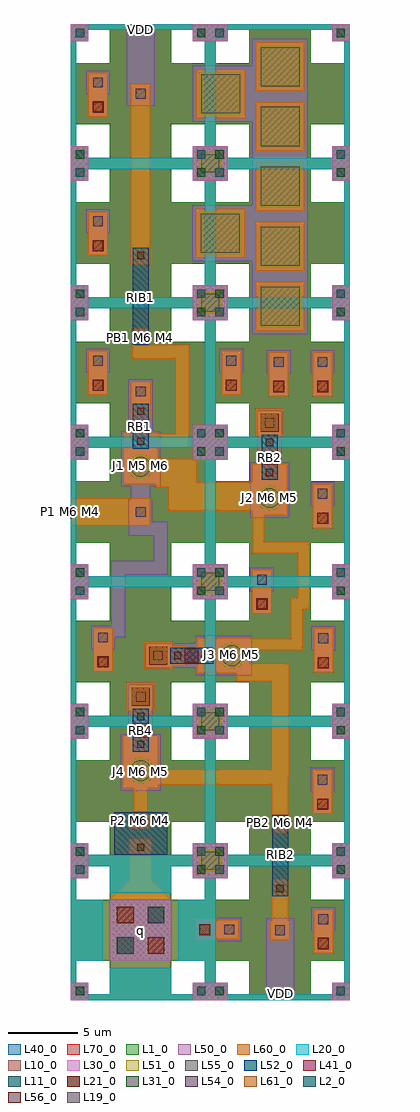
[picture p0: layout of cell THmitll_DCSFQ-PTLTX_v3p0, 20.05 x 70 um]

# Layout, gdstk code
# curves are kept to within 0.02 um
from math import pi, radians
import gdstk
lib = gdstk.Library(unit=1e-6, precision=1e-09)
def R(c, l, rs):  # rectangles x0, y0, x1, y1
    for r in rs: c.add(gdstk.rectangle(r[:2], r[2:], *l))
def P(c, l, *ps):  # polygons
    for p in ps: c.add(gdstk.Polygon(p, *l))
L1_0 = (1, 0)
L2_0 = (2, 0)
L10_0 = (10, 0)
L11_0 = (11, 0)
L19_0 = (19, 0)
L20_0 = (20, 0)
L21_0 = (21, 0)
L30_0 = (30, 0)
L31_0 = (31, 0)
L40_0 = (40, 0)
L41_0 = (41, 0)
L50_0 = (50, 0)
L51_0 = (51, 0)
L52_0 = (52, 0)
L54_0 = (54, 0)
L55_0 = (55, 0)
L56_0 = (56, 0)
L60_0 = (60, 0)
L61_0 = (61, 0)
L70_0 = (70, 0)

ls_tr_m7 = lib.new_cell('ls_tr_M7')
P(ls_tr_m7, L70_0, [(0,0),(0,10),(1.25,10),(1.25,8.75),(0.4,8.75),(0.4,1.25),(1.25,1.25),(1.25,0.4),(2.8,0.4),(2.8,2.8),(0.4,2.8),(0.4,7.2),(2.8,7.2),(2.8,9.6),(1.25,9.6),(1.25,10),(7.2,10),(7.2,0.4),(8.75,0.4),(8.75,1.25),(9.6,1.25),(9.6,2.8),(7.2,2.8),(7.2,7.2),(9.6,7.2),(9.6,8.75),(8.75,8.75),(8.75,9.6),(7.2,9.6),(7.2,10),(10,10),(10,0)])

ls_tr_u_m4 = lib.new_cell('ls_tr_u_M4')
P(ls_tr_u_m4, L1_0, [(0,0),(0,10),(1.25,10),(1.25,8.75),(0.4,8.75),(0.4,1.25),(1.25,1.25),(1.25,0.4),(2.8,0.4),(2.8,2.8),(0.4,2.8),(0.4,7.2),(2.8,7.2),(2.8,9.6),(1.25,9.6),(1.25,10),(7.2,10),(7.2,0.4),(8.75,0.4),(8.75,1.25),(9.6,1.25),(9.6,2.8),(7.2,2.8),(7.2,7.2),(9.6,7.2),(9.6,8.75),(8.75,8.75),(8.75,9.6),(7.2,9.6),(7.2,10),(10,10),(10,0)])
R(ls_tr_u_m4, L2_0, [(9.05,0.35,9.65,0.95), (0.35,9.05,0.95,9.65)])
R(ls_tr_u_m4, L10_0, [(0,0,1.25,1.25), (8.75,0,10,1.25), (0,8.75,1.25,10), (8.75,8.75,10,10)])
R(ls_tr_u_m4, L11_0, [(0.35,0.35,0.95,0.95), (9.05,9.05,9.65,9.65)])
P(ls_tr_u_m4, L20_0, [(0,0),(0,10),(1.25,10),(1.25,8.75),(0.4,8.75),(0.4,1.25),(1.25,1.25),(1.25,0.4),(8.75,0.4),(8.75,1.25),(9.6,1.25),(9.6,8.75),(8.75,8.75),(8.75,9.6),(1.25,9.6),(1.25,10),(10,10),(10,0)])
R(ls_tr_u_m4, L21_0, [(9.05,0.35,9.65,0.95), (0.35,9.05,0.95,9.65)])
R(ls_tr_u_m4, L30_0, [(0,0,1.25,1.25), (8.75,0,10,1.25), (0,8.75,1.25,10), (8.75,8.75,10,10)])
R(ls_tr_u_m4, L31_0, [(0.35,0.35,0.95,0.95), (9.05,9.05,9.65,9.65)])
P(ls_tr_u_m4, L40_0, [(0,0),(0,10),(1.25,10),(1.25,8.75),(0.4,8.75),(0.4,1.25),(1.25,1.25),(1.25,0.4),(2.8,0.4),(2.8,2.8),(0.4,2.8),(0.4,7.2),(2.8,7.2),(2.8,9.6),(1.25,9.6),(1.25,10),(7.2,10),(7.2,0.4),(8.75,0.4),(8.75,1.25),(9.6,1.25),(9.6,2.8),(7.2,2.8),(7.2,7.2),(9.6,7.2),(9.6,8.75),(8.75,8.75),(8.75,9.6),(7.2,9.6),(7.2,10),(10,10),(10,0)])
ls_tr_u_m4.add(gdstk.Reference(ls_tr_m7, (0,0)))

ls_tr_ptlconnection = lib.new_cell('ls_tr_PTLconnection')
P(ls_tr_ptlconnection, L1_0, [(0,0),(0,10),(1.25,10),(1.25,8.75),(0.4,8.75),(0.4,1.25),(1.25,1.25),(1.25,0.4),(2.8,0.4),(2.8,2.8),(0.4,2.8),(0.4,7.2),(2.8,7.2),(2.8,9.6),(1.25,9.6),(1.25,10),(7.2,10),(7.2,0.4),(8.75,0.4),(8.75,1.25),(9.6,1.25),(9.6,2.8),(7.2,2.8),(7.2,7.2),(9.6,7.2),(9.6,8.75),(8.75,8.75),(8.75,9.6),(7.2,9.6),(7.2,10),(10,10),(10,0)])
R(ls_tr_ptlconnection, L2_0, [(9.05,0.35,9.65,0.95), (0.35,9.05,0.95,9.65)])
R(ls_tr_ptlconnection, L10_0, [(0,0,1.25,1.25), (8.75,0,10,1.25), (2.8,2.8,7.2,7.2), (0,8.75,1.25,10), (8.75,8.75,10,10)])
R(ls_tr_ptlconnection, L11_0, [(0.35,0.35,0.95,0.95), (3.3,3.3,4.5,4.5), (5.5,5.5,6.7,6.7), (9.05,9.05,9.65,9.65)])
R(ls_tr_ptlconnection, L20_0, [(2.8,2.8,7.2,7.2)])
P(ls_tr_ptlconnection, L20_0, [(0,0),(0,10),(7.2,10),(7.2,7.7),(2.8,7.7),(2.8,9.6),(1.25,9.6),(1.25,8.75),(0.4,8.75),(0.4,7.2),(2.3,7.2),(2.3,2.8),(0.4,2.8),(0.4,1.25),(1.25,1.25),(1.25,0.4),(2.8,0.4),(2.8,2.3),(7.2,2.3),(7.2,0.4),(8.75,0.4),(8.75,1.25),(9.6,1.25),(9.6,2.8),(7.7,2.8),(7.7,7.2),(9.6,7.2),(9.6,8.75),(8.75,8.75),(8.75,9.6),(7.2,9.6),(7.2,10),(10,10),(10,0)])
R(ls_tr_ptlconnection, L21_0, [(9.05,0.35,9.65,0.95), (5.5,3.3,6.7,4.5), (3.3,5.5,4.5,6.7), (0.35,9.05,0.95,9.65)])
R(ls_tr_ptlconnection, L30_0, [(0,0,1.25,1.25), (8.75,0,10,1.25), (2.8,2.8,7.2,7.2), (0,8.75,1.25,10), (8.75,8.75,10,10)])
R(ls_tr_ptlconnection, L31_0, [(0.35,0.35,0.95,0.95), (3.3,3.3,4.5,4.5), (5.5,5.5,6.7,6.7), (9.05,9.05,9.65,9.65)])
R(ls_tr_ptlconnection, L40_0, [(2.8,2.8,7.2,7.2)])
P(ls_tr_ptlconnection, L40_0, [(0,0),(0,10),(7.2,10),(7.2,7.7),(2.8,7.7),(2.8,9.6),(1.25,9.6),(1.25,8.75),(0.4,8.75),(0.4,7.2),(2.3,7.2),(2.3,2.8),(0.4,2.8),(0.4,1.25),(1.25,1.25),(1.25,0.4),(2.8,0.4),(2.8,2.3),(7.2,2.3),(7.2,0.4),(8.75,0.4),(8.75,1.25),(9.6,1.25),(9.6,2.8),(7.7,2.8),(7.7,7.2),(9.6,7.2),(9.6,8.75),(8.75,8.75),(8.75,9.6),(7.2,9.6),(7.2,10),(10,10),(10,0)])
R(ls_tr_ptlconnection, L41_0, [(5.5,3.3,6.7,4.5), (3.3,5.5,4.5,6.7)])
R(ls_tr_ptlconnection, L50_0, [(2.8,2.8,7.2,7.2)])
R(ls_tr_ptlconnection, L54_0, [(3.3,3.3,4.5,4.5), (5.5,5.5,6.7,6.7)])
R(ls_tr_ptlconnection, L60_0, [(2.8,2.8,7.2,7.2)])
P(ls_tr_ptlconnection, L70_0, [(0,0),(0,10),(1.25,10),(1.25,8.75),(0.4,8.75),(0.4,1.25),(1.25,1.25),(1.25,0.4),(2.8,0.4),(2.8,2.8),(0.4,2.8),(0.4,7.2),(2.8,7.2),(2.8,9.6),(1.25,9.6),(1.25,10),(7.2,10),(7.2,0.4),(8.75,0.4),(8.75,1.25),(9.6,1.25),(9.6,2.8),(7.2,2.8),(7.2,7.2),(9.6,7.2),(9.6,8.75),(8.75,8.75),(8.75,9.6),(7.2,9.6),(7.2,10),(10,10),(10,0)])

ls_res_1p36 = lib.new_cell('ls_res_1p36')
R(ls_res_1p36, L52_0, [(-1.9,0,1.9,3.05)])
R(ls_res_1p36, L56_0, [(-0.26,0.29,0.26,0.81), (-0.26,2.25,0.26,2.77)])
R(ls_res_1p36, L60_0, [(-0.625,-0.1,0.625,1.175), (-0.625,1.875,0.625,3.15)])

ls_conn_m5m6 = lib.new_cell('ls_conn_M5M6')
R(ls_conn_m5m6, L50_0, [(0,0,1.7,1.7)])
R(ls_conn_m5m6, L54_0, [(0.5,0.5,1.2,1.2)])
R(ls_conn_m5m6, L60_0, [(0.15,0.15,1.55,1.55)])

th_jj_250_sg = lib.new_cell('th_jj_250_sg')
R(th_jj_250_sg, L41_0, [(-0.5,2.4,0.5,3.4)])
R(th_jj_250_sg, L50_0, [(-1.425,-1.425,1.425,2.625), (-0.875,2.625,0.875,6.175)])
P(th_jj_250_sg, L51_0, [(0,-0.91),(-0.18,-0.895),(-0.35,-0.84),(-0.645,-0.645),(-0.84,-0.35),(-0.91,0),(-0.895,0.18),(-0.84,0.35),(-0.645,0.645),(-0.35,0.84),(-0.18,0.895),(0,0.91),(0.18,0.895),(0.35,0.84),(0.645,0.645),(0.84,0.35),(0.895,0.18),(0.91,0),(0.84,-0.35),(0.645,-0.645),(0.35,-0.84),(0.18,-0.895)])
R(th_jj_250_sg, L52_0, [(-0.575,1.35,0.575,4.425)])
R(th_jj_250_sg, L54_0, [(-0.35,4.95,0.35,5.65)])
P(th_jj_250_sg, L55_0, [(0,-0.76),(-0.15,-0.75),(-0.29,-0.7),(-0.54,-0.54),(-0.7,-0.29),(-0.75,-0.15),(-0.76,0),(-0.75,0.15),(-0.7,0.29),(-0.54,0.54),(-0.29,0.7),(-0.15,0.75),(0,0.76),(0.15,0.75),(0.29,0.7),(0.54,0.54),(0.7,0.29),(0.75,0.15),(0.76,0),(0.75,-0.15),(0.7,-0.29),(0.54,-0.54),(0.29,-0.7),(0.15,-0.75)])
R(th_jj_250_sg, L56_0, [(-0.26,1.64,0.26,2.16), (-0.26,3.63,0.26,4.15)])
R(th_jj_250_sg, L60_0, [(-1.275,-1.275,1.275,2.525), (-0.725,3.25,0.725,6.025), (-1,4.3,1,6.3)])
R(th_jj_250_sg, L61_0, [(-0.65,4.65,0.65,5.95)])

th_ib_350 = lib.new_cell('th_ib_350')
R(th_ib_350, L52_0, [(-0.575,0,0.575,5.8)])
R(th_ib_350, L56_0, [(-0.26,0.29,0.26,0.81), (-0.26,4.99,0.26,5.51)])
R(th_ib_350, L60_0, [(-0.625,-0.1,0.625,1.175), (-0.625,4.625,0.625,5.9)])

ls_conn_m4m5m6m7 = lib.new_cell('ls_conn_M4M5M6M7')
R(ls_conn_m4m5m6m7, L40_0, [(0,0,1.4,1.4)])
R(ls_conn_m4m5m6m7, L41_0, [(0.3,0.3,1.1,1.1)])
P(ls_conn_m4m5m6m7, L50_0, [(1.6,-0.15),(1.6,0),(0,0),(0,1.4),(1.6,1.4),(1.6,1.55),(3.3,1.55),(3.3,-0.15)])
R(ls_conn_m4m5m6m7, L54_0, [(2.1,0.35,2.8,1.05)])
R(ls_conn_m4m5m6m7, L60_0, [(0,0,3.15,1.4)])
R(ls_conn_m4m5m6m7, L61_0, [(0.35,0.35,1.05,1.05)])
R(ls_conn_m4m5m6m7, L70_0, [(0,0,1.4,1.4)])

th_jj_225_s = lib.new_cell('th_jj_225_s')
R(th_jj_225_s, L50_0, [(-1.4,-1.4,1.4,2.55), (-0.875,2.55,0.875,6.275)])
P(th_jj_225_s, L51_0, [(-0.065,-0.865),(-0.065,-0.86),(-0.11,-0.86),(-0.11,-0.855),(-0.145,-0.855),(-0.145,-0.85),(-0.17,-0.85),(-0.17,-0.845),(-0.195,-0.845),(-0.195,-0.84),(-0.215,-0.84),(-0.215,-0.835),(-0.235,-0.835),(-0.235,-0.83),(-0.25,-0.83),(-0.25,-0.825),(-0.27,-0.825),(-0.27,-0.82),(-0.28,-0.82),(-0.28,-0.815),(-0.295,-0.815),(-0.295,-0.81),(-0.31,-0.81),(-0.31,-0.805),(-0.32,-0.805),(-0.32,-0.8),(-0.335,-0.8),(-0.335,-0.795),(-0.345,-0.795),(-0.345,-0.79),(-0.355,-0.79),(-0.355,-0.785),(-0.37,-0.785),(-0.37,-0.78),(-0.38,-0.78),(-0.38,-0.775),(-0.39,-0.775),(-0.39,-0.77),(-0.4,-0.77),(-0.4,-0.765),(-0.41,-0.765),(-0.41,-0.76),(-0.415,-0.76),(-0.415,-0.755),(-0.425,-0.755),(-0.425,-0.75),(-0.435,-0.75),(-0.435,-0.745),(-0.445,-0.745),(-0.445,-0.74),(-0.45,-0.74),(-0.45,-0.735),(-0.46,-0.735),(-0.46,-0.73),(-0.465,-0.73),(-0.465,-0.725),(-0.475,-0.725),(-0.475,-0.72),(-0.485,-0.72),(-0.485,-0.715),(-0.49,-0.715),(-0.49,-0.71),(-0.495,-0.71),(-0.495,-0.705),(-0.505,-0.705),(-0.505,-0.7),(-0.51,-0.7),(-0.51,-0.695),(-0.52,-0.695),(-0.52,-0.69),(-0.525,-0.69),(-0.525,-0.685),(-0.53,-0.685),(-0.53,-0.68),(-0.535,-0.68),(-0.535,-0.675),(-0.545,-0.675),(-0.545,-0.67),(-0.55,-0.67),(-0.55,-0.665),(-0.555,-0.665),(-0.555,-0.66),(-0.56,-0.66),(-0.56,-0.655),(-0.565,-0.655),(-0.565,-0.65),(-0.57,-0.65),(-0.57,-0.645),(-0.575,-0.645),(-0.575,-0.64),(-0.58,-0.64),(-0.58,-0.635),(-0.585,-0.635),(-0.585,-0.63),(-0.59,-0.63),(-0.59,-0.625),(-0.595,-0.625),(-0.595,-0.62),(-0.6,-0.62),(-0.6,-0.615),(-0.605,-0.615),(-0.605,-0.61),(-0.61,-0.61),(-0.61,-0.605),(-0.615,-0.605),(-0.615,-0.6),(-0.62,-0.6),(-0.62,-0.595),(-0.625,-0.595),(-0.625,-0.59),(-0.63,-0.59),(-0.63,-0.585),(-0.635,-0.585),(-0.635,-0.58),(-0.64,-0.58),(-0.64,-0.575),(-0.645,-0.575),(-0.645,-0.57),(-0.65,-0.57),(-0.65,-0.565),(-0.655,-0.565),(-0.655,-0.56),(-0.665,-0.56),(-0.665,-0.545),(-0.67,-0.545),(-0.67,-0.54),(-0.675,-0.54),(-0.675,-0.535),(-0.685,-0.535),(-0.685,-0.52),(-0.69,-0.52),(-0.69,-0.515),(-0.7,-0.515),(-0.7,-0.5),(-0.705,-0.5),(-0.705,-0.495),(-0.715,-0.495),(-0.715,-0.485),(-0.72,-0.485),(-0.72,-0.47),(-0.73,-0.47),(-0.73,-0.455),(-0.74,-0.455),(-0.74,-0.445),(-0.745,-0.445),(-0.745,-0.435),(-0.75,-0.435),(-0.75,-0.42),(-0.76,-0.42),(-0.76,-0.41),(-0.765,-0.41),(-0.765,-0.4),(-0.77,-0.4),(-0.77,-0.39),(-0.775,-0.39),(-0.775,-0.38),(-0.78,-0.38),(-0.78,-0.37),(-0.785,-0.37),(-0.785,-0.36),(-0.79,-0.36),(-0.79,-0.35),(-0.795,-0.35),(-0.795,-0.335),(-0.8,-0.335),(-0.8,-0.325),(-0.805,-0.325),(-0.805,-0.31),(-0.81,-0.31),(-0.81,-0.3),(-0.815,-0.3),(-0.815,-0.285),(-0.82,-0.285),(-0.82,-0.27),(-0.825,-0.27),(-0.825,-0.255),(-0.83,-0.255),(-0.83,-0.235),(-0.835,-0.235),(-0.835,-0.22),(-0.84,-0.22),(-0.84,-0.195),(-0.845,-0.195),(-0.845,-0.175),(-0.85,-0.175),(-0.85,-0.15),(-0.855,-0.15),(-0.855,-0.115),(-0.86,-0.115),(-0.86,-0.07),(-0.865,-0.07),(-0.865,0.07),(-0.86,0.07),(-0.86,0.115),(-0.855,0.115),(-0.855,0.15),(-0.85,0.15),(-0.85,0.175),(-0.845,0.175),(-0.845,0.195),(-0.84,0.195),(-0.84,0.215),(-0.835,0.215),(-0.835,0.235),(-0.83,0.235),(-0.83,0.25),(-0.825,0.25),(-0.825,0.27),(-0.82,0.27),(-0.82,0.285),(-0.815,0.285),(-0.815,0.295),(-0.81,0.295),(-0.81,0.31),(-0.805,0.31),(-0.805,0.325),(-0.8,0.325),(-0.8,0.335),(-0.795,0.335),(-0.795,0.345),(-0.79,0.345),(-0.79,0.355),(-0.785,0.355),(-0.785,0.37),(-0.78,0.37),(-0.78,0.38),(-0.775,0.38),(-0.775,0.39),(-0.77,0.39),(-0.77,0.4),(-0.765,0.4),(-0.765,0.41),(-0.76,0.41),(-0.76,0.425),(-0.75,0.425),(-0.75,0.435),(-0.745,0.435),(-0.745,0.45),(-0.735,0.45),(-0.735,0.465),(-0.725,0.465),(-0.725,0.475),(-0.72,0.475),(-0.72,0.49),(-0.71,0.49),(-0.71,0.505),(-0.705,0.505),(-0.705,0.51),(-0.695,0.51),(-0.695,0.525),(-0.69,0.525),(-0.69,0.53),(-0.68,0.53),(-0.68,0.545),(-0.675,0.545),(-0.675,0.55),(-0.67,0.55),(-0.67,0.555),(-0.665,0.555),(-0.665,0.56),(-0.66,0.56),(-0.66,0.565),(-0.65,0.565),(-0.65,0.58),(-0.645,0.58),(-0.645,0.585),(-0.64,0.585),(-0.64,0.59),(-0.635,0.59),(-0.635,0.595),(-0.63,0.595),(-0.63,0.6),(-0.625,0.6),(-0.625,0.605),(-0.62,0.605),(-0.62,0.61),(-0.615,0.61),(-0.615,0.615),(-0.61,0.615),(-0.61,0.62),(-0.6,0.62),(-0.6,0.625),(-0.595,0.625),(-0.595,0.63),(-0.59,0.63),(-0.59,0.635),(-0.585,0.635),(-0.585,0.64),(-0.58,0.64),(-0.58,0.645),(-0.575,0.645),(-0.575,0.65),(-0.57,0.65),(-0.57,0.655),(-0.565,0.655),(-0.565,0.66),(-0.56,0.66),(-0.56,0.665),(-0.55,0.665),(-0.55,0.67),(-0.545,0.67),(-0.545,0.675),(-0.54,0.675),(-0.54,0.68),(-0.535,0.68),(-0.535,0.685),(-0.525,0.685),(-0.525,0.69),(-0.52,0.69),(-0.52,0.695),(-0.515,0.695),(-0.515,0.7),(-0.505,0.7),(-0.505,0.705),(-0.5,0.705),(-0.5,0.71),(-0.49,0.71),(-0.49,0.715),(-0.485,0.715),(-0.485,0.72),(-0.48,0.72),(-0.48,0.725),(-0.47,0.725),(-0.47,0.73),(-0.465,0.73),(-0.465,0.735),(-0.455,0.735),(-0.455,0.74),(-0.445,0.74),(-0.445,0.745),(-0.44,0.745),(-0.44,0.75),(-0.43,0.75),(-0.43,0.755),(-0.42,0.755),(-0.42,0.76),(-0.41,0.76),(-0.41,0.765),(-0.4,0.765),(-0.4,0.77),(-0.39,0.77),(-0.39,0.775),(-0.385,0.775),(-0.385,0.78),(-0.37,0.78),(-0.37,0.785),(-0.36,0.785),(-0.36,0.79),(-0.35,0.79),(-0.35,0.795),(-0.335,0.795),(-0.335,0.8),(-0.325,0.8),(-0.325,0.805),(-0.315,0.805),(-0.315,0.81),(-0.3,0.81),(-0.3,0.815),(-0.285,0.815),(-0.285,0.82),(-0.27,0.82),(-0.27,0.825),(-0.255,0.825),(-0.255,0.83),(-0.24,0.83),(-0.24,0.835),(-0.22,0.835),(-0.22,0.84),(-0.2,0.84),(-0.2,0.845),(-0.18,0.845),(-0.18,0.85),(-0.155,0.85),(-0.155,0.855),(-0.12,0.855),(-0.12,0.86),(-0.075,0.86),(-0.075,0.865),(0.075,0.865),(0.075,0.86),(0.12,0.86),(0.12,0.855),(0.15,0.855),(0.15,0.85),(0.175,0.85),(0.175,0.845),(0.195,0.845),(0.195,0.84),(0.22,0.84),(0.22,0.835),(0.235,0.835),(0.235,0.83),(0.25,0.83),(0.25,0.825),(0.27,0.825),(0.27,0.82),(0.285,0.82),(0.285,0.815),(0.295,0.815),(0.295,0.81),(0.31,0.81),(0.31,0.805),(0.325,0.805),(0.325,0.8),(0.335,0.8),(0.335,0.795),(0.345,0.795),(0.345,0.79),(0.36,0.79),(0.36,0.785),(0.37,0.785),(0.37,0.78),(0.38,0.78),(0.38,0.775),(0.39,0.775),(0.39,0.77),(0.4,0.77),(0.4,0.765),(0.41,0.765),(0.41,0.76),(0.42,0.76),(0.42,0.755),(0.425,0.755),(0.425,0.75),(0.435,0.75),(0.435,0.745),(0.445,0.745),(0.445,0.74),(0.45,0.74),(0.45,0.735),(0.46,0.735),(0.46,0.73),(0.465,0.73),(0.465,0.725),(0.475,0.725),(0.475,0.72),(0.485,0.72),(0.485,0.715),(0.49,0.715),(0.49,0.71),(0.5,0.71),(0.5,0.705),(0.505,0.705),(0.505,0.7),(0.515,0.7),(0.515,0.695),(0.52,0.695),(0.52,0.69),(0.525,0.69),(0.525,0.685),(0.53,0.685),(0.53,0.68),(0.54,0.68),(0.54,0.675),(0.545,0.675),(0.545,0.67),(0.55,0.67),(0.55,0.665),(0.555,0.665),(0.555,0.66),(0.56,0.66),(0.56,0.655),(0.565,0.655),(0.565,0.65),(0.575,0.65),(0.575,0.645),(0.58,0.645),(0.58,0.64),(0.585,0.64),(0.585,0.635),(0.59,0.635),(0.59,0.63),(0.595,0.63),(0.595,0.625),(0.6,0.625),(0.6,0.62),(0.605,0.62),(0.605,0.615),(0.61,0.615),(0.61,0.61),(0.62,0.61),(0.62,0.595),(0.625,0.595),(0.625,0.59),(0.63,0.59),(0.63,0.585),(0.635,0.585),(0.635,0.58),(0.64,0.58),(0.64,0.575),(0.645,0.575),(0.645,0.57),(0.65,0.57),(0.65,0.565),(0.655,0.565),(0.655,0.56),(0.665,0.56),(0.665,0.545),(0.67,0.545),(0.67,0.54),(0.675,0.54),(0.675,0.535),(0.685,0.535),(0.685,0.52),(0.69,0.52),(0.69,0.515),(0.7,0.515),(0.7,0.5),(0.71,0.5),(0.71,0.485),(0.715,0.485),(0.715,0.48),(0.725,0.48),(0.725,0.465),(0.735,0.465),(0.735,0.455),(0.74,0.455),(0.74,0.445),(0.745,0.445),(0.745,0.43),(0.755,0.43),(0.755,0.42),(0.76,0.42),(0.76,0.41),(0.765,0.41),(0.765,0.4),(0.77,0.4),(0.77,0.39),(0.775,0.39),(0.775,0.38),(0.78,0.38),(0.78,0.37),(0.785,0.37),(0.785,0.36),(0.79,0.36),(0.79,0.35),(0.795,0.35),(0.795,0.335),(0.8,0.335),(0.8,0.325),(0.805,0.325),(0.805,0.315),(0.81,0.315),(0.81,0.3),(0.815,0.3),(0.815,0.285),(0.82,0.285),(0.82,0.27),(0.825,0.27),(0.825,0.255),(0.83,0.255),(0.83,0.24),(0.835,0.24),(0.835,0.22),(0.84,0.22),(0.84,0.2),(0.845,0.2),(0.845,0.175),(0.85,0.175),(0.85,0.15),(0.855,0.15),(0.855,0.12),(0.86,0.12),(0.86,0.07),(0.865,0.07),(0.865,-0.07),(0.86,-0.07),(0.86,-0.115),(0.855,-0.115),(0.855,-0.15),(0.85,-0.15),(0.85,-0.175),(0.845,-0.175),(0.845,-0.195),(0.84,-0.195),(0.84,-0.215),(0.835,-0.215),(0.835,-0.235),(0.83,-0.235),(0.83,-0.255),(0.825,-0.255),(0.825,-0.265),(0.82,-0.265),(0.82,-0.28),(0.815,-0.28),(0.815,-0.295),(0.81,-0.295),(0.81,-0.31),(0.805,-0.31),(0.805,-0.325),(0.8,-0.325),(0.8,-0.335),(0.795,-0.335),(0.795,-0.345),(0.79,-0.345),(0.79,-0.365),(0.78,-0.365),(0.78,-0.38),(0.775,-0.38),(0.775,-0.39),(0.77,-0.39),(0.77,-0.405),(0.76,-0.405),(0.76,-0.415),(0.755,-0.415),(0.755,-0.425),(0.75,-0.425),(0.75,-0.44),(0.74,-0.44),(0.74,-0.45),(0.735,-0.45),(0.735,-0.465),(0.725,-0.465),(0.725,-0.48),(0.715,-0.48),(0.715,-0.495),(0.705,-0.495),(0.705,-0.51),(0.7,-0.51),(0.7,-0.515),(0.69,-0.515),(0.69,-0.53),(0.685,-0.53),(0.685,-0.535),(0.68,-0.535),(0.68,-0.54),(0.67,-0.54),(0.67,-0.555),(0.665,-0.555),(0.665,-0.56),(0.66,-0.56),(0.66,-0.565),(0.655,-0.565),(0.655,-0.57),(0.65,-0.57),(0.65,-0.575),(0.645,-0.575),(0.645,-0.58),(0.64,-0.58),(0.64,-0.585),(0.635,-0.585),(0.635,-0.59),(0.63,-0.59),(0.63,-0.595),(0.625,-0.595),(0.625,-0.6),(0.62,-0.6),(0.62,-0.605),(0.615,-0.605),(0.615,-0.61),(0.61,-0.61),(0.61,-0.615),(0.605,-0.615),(0.605,-0.62),(0.6,-0.62),(0.6,-0.625),(0.595,-0.625),(0.595,-0.63),(0.59,-0.63),(0.59,-0.635),(0.585,-0.635),(0.585,-0.64),(0.58,-0.64),(0.58,-0.645),(0.575,-0.645),(0.575,-0.65),(0.57,-0.65),(0.57,-0.655),(0.565,-0.655),(0.565,-0.66),(0.555,-0.66),(0.555,-0.665),(0.55,-0.665),(0.55,-0.67),(0.545,-0.67),(0.545,-0.675),(0.54,-0.675),(0.54,-0.68),(0.53,-0.68),(0.53,-0.685),(0.525,-0.685),(0.525,-0.69),(0.52,-0.69),(0.52,-0.695),(0.515,-0.695),(0.515,-0.7),(0.505,-0.7),(0.505,-0.705),(0.5,-0.705),(0.5,-0.71),(0.49,-0.71),(0.49,-0.715),(0.485,-0.715),(0.485,-0.72),(0.475,-0.72),(0.475,-0.725),(0.47,-0.725),(0.47,-0.73),(0.46,-0.73),(0.46,-0.735),(0.455,-0.735),(0.455,-0.74),(0.445,-0.74),(0.445,-0.745),(0.435,-0.745),(0.435,-0.75),(0.43,-0.75),(0.43,-0.755),(0.42,-0.755),(0.42,-0.76),(0.41,-0.76),(0.41,-0.765),(0.4,-0.765),(0.4,-0.77),(0.39,-0.77),(0.39,-0.775),(0.38,-0.775),(0.38,-0.78),(0.37,-0.78),(0.37,-0.785),(0.36,-0.785),(0.36,-0.79),(0.345,-0.79),(0.345,-0.795),(0.335,-0.795),(0.335,-0.8),(0.325,-0.8),(0.325,-0.805),(0.31,-0.805),(0.31,-0.81),(0.3,-0.81),(0.3,-0.815),(0.285,-0.815),(0.285,-0.82),(0.27,-0.82),(0.27,-0.825),(0.255,-0.825),(0.255,-0.83),(0.235,-0.83),(0.235,-0.835),(0.22,-0.835),(0.22,-0.84),(0.2,-0.84),(0.2,-0.845),(0.175,-0.845),(0.175,-0.85),(0.145,-0.85),(0.145,-0.855),(0.115,-0.855),(0.115,-0.86),(0.065,-0.86),(0.065,-0.865)])
R(th_jj_225_s, L52_0, [(-0.575,1.3,0.575,4.525)])
R(th_jj_225_s, L54_0, [(-0.35,5.05,0.35,5.75)])
P(th_jj_225_s, L55_0, [(0,-0.72),(-0.27,-0.67),(-0.51,-0.51),(-0.61,-0.4),(-0.73,-0.01),(-0.61,0.39),(-0.51,0.5),(-0.27,0.66),(0,0.71),(0.27,0.66),(0.51,0.5),(0.61,0.39),(0.73,-0.01),(0.61,-0.4),(0.51,-0.51),(0.27,-0.67)])
R(th_jj_225_s, L56_0, [(-0.26,1.57,0.26,2.09), (-0.26,3.72,0.26,4.24)])
R(th_jj_225_s, L60_0, [(-1.25,-1.25,1.25,2.45), (-0.725,3.35,0.725,6.125)])

th_ib_275 = lib.new_cell('th_ib_275')
R(th_ib_275, L52_0, [(-0.575,0,0.575,6.95)])
R(th_ib_275, L56_0, [(-0.26,0.29,0.26,0.81), (-0.26,6.16,0.26,6.68)])
R(th_ib_275, L60_0, [(-0.625,-0.1,0.625,1.175), (-0.625,5.775,0.625,7.05)])

th_jj_225_sg = lib.new_cell('th_jj_225_sg')
R(th_jj_225_sg, L41_0, [(-0.5,2.375,0.5,3.375)])
R(th_jj_225_sg, L50_0, [(-1.4,-1.4,1.4,2.55), (-0.875,2.55,0.875,6.275)])
P(th_jj_225_sg, L51_0, [(0,-0.865),(-0.33,-0.8),(-0.61,-0.61),(-0.8,-0.33),(-0.865,0),(-0.8,0.33),(-0.61,0.61),(-0.33,0.8),(0,0.865),(0.33,0.8),(0.61,0.61),(0.8,0.33),(0.865,0),(0.8,-0.33),(0.61,-0.61),(0.33,-0.8)])
R(th_jj_225_sg, L52_0, [(-0.575,1.3,0.575,4.525)])
R(th_jj_225_sg, L54_0, [(-0.35,5.05,0.35,5.75)])
P(th_jj_225_sg, L55_0, [(0,-0.72),(-0.27,-0.67),(-0.51,-0.51),(-0.61,-0.4),(-0.73,-0.01),(-0.61,0.39),(-0.51,0.5),(-0.27,0.66),(0,0.71),(0.27,0.66),(0.51,0.5),(0.61,0.39),(0.73,-0.01),(0.61,-0.4),(0.51,-0.51),(0.27,-0.67)])
R(th_jj_225_sg, L56_0, [(-0.26,1.57,0.26,2.09), (-0.26,3.72,0.26,4.24)])
R(th_jj_225_sg, L60_0, [(-1.25,-1.25,1.25,2.45), (-0.725,3.35,0.725,6.125), (-1,4.4,1,6.4)])
R(th_jj_225_sg, L61_0, [(-0.65,4.75,0.65,6.05)])

ls_fakejj_1p5x1p5um = lib.new_cell('ls_FakeJJ_1p5x1p5um')
R(ls_fakejj_1p5x1p5um, L40_0, [(-1.25,-1.25,1.25,1.25)])
R(ls_fakejj_1p5x1p5um, L50_0, [(-1.25,-1.25,1.25,1.25)])
R(ls_fakejj_1p5x1p5um, L51_0, [(-0.75,-0.75,0.75,0.75)])
R(ls_fakejj_1p5x1p5um, L55_0, [(-0.65,-0.65,0.65,0.65)])
R(ls_fakejj_1p5x1p5um, L60_0, [(-1,-1,1,1)])

ls_fakejj_3umx3um = lib.new_cell('ls_FakeJJ_3umx3um')
R(ls_fakejj_3umx3um, L40_0, [(-2,-2,2,2)])
R(ls_fakejj_3umx3um, L50_0, [(-2,-2,2,2)])
R(ls_fakejj_3umx3um, L51_0, [(-1.5,-1.5,1.5,1.5)])
R(ls_fakejj_3umx3um, L55_0, [(-1.4,-1.4,1.4,1.4)])
R(ls_fakejj_3umx3um, L60_0, [(-1.75,-1.75,1.75,1.75)])

thmitll_dcsfq_ptltx_v3p0 = lib.new_cell('THmitll_DCSFQ-PTLTX_v3p0')
P(thmitll_dcsfq_ptltx_v3p0, L1_0, [(7.2,40.4),(7.2,42.8),(9.6,42.8),(9.6,41.25),(8.75,41.25),(8.75,40.4)],
  [(7.2,37.2),(7.2,39.6),(8.75,39.6),(8.75,38.75),(9.6,38.75),(9.6,37.2)])
R(thmitll_dcsfq_ptltx_v3p0, L19_0, [(14.7,12.4,15.3,12.95), (4.7,12.65,5.3,13.15), (4.75,47.25,5.25,47.75)])
P(thmitll_dcsfq_ptltx_v3p0, L40_0, [(7.2,40.4),(7.2,42.8),(9.6,42.8),(9.6,41.25),(8.75,41.25),(8.75,40.4)],
  [(7.2,37.2),(7.2,39.6),(8.75,39.6),(8.75,38.75),(9.6,38.75),(9.6,37.2)])
R(thmitll_dcsfq_ptltx_v3p0, L50_0, [(13,47.75,17,68.95), (8.7,53,13.35,57), (8.75,63,13.25,67)])
P(thmitll_dcsfq_ptltx_v3p0, L60_0, [(2.8,7.2),(5,9.4),(7.2,7.2)])
P(thmitll_dcsfq_ptltx_v3p0, L70_0, [(7.2,40.4),(7.2,42.8),(9.6,42.8),(9.6,41.25),(8.75,41.25),(8.75,40.4)],
  [(7.2,37.2),(7.2,39.6),(8.75,39.6),(8.75,38.75),(9.6,38.75),(9.6,37.2)])
thmitll_dcsfq_ptltx_v3p0.add(gdstk.FlexPath([(4.4,46.5),(8,46.5),(8,40.1),(6.1,40.1)], 1, ends="flush", simple_path=True, layer=60, datatype=0))  # L60_0
thmitll_dcsfq_ptltx_v3p0.add(gdstk.FlexPath([(6.15,16),(15,16)], 1.1, ends="flush", simple_path=True, layer=60, datatype=0))  # L60_0
thmitll_dcsfq_ptltx_v3p0.add(gdstk.FlexPath([(13.45,34.85),(13.45,32.45),(16.7,32.45),(16.7,30.55),(16.7,28.45),(16.2,28.45),(16.2,25.5),(12.7,25.5)], 0.85, ends="flush", simple_path=True, layer=60, datatype=0))  # L60_0
thmitll_dcsfq_ptltx_v3p0.add(gdstk.FlexPath([(6.1,37.8),(8,37.8),(8,36.1),(13.1,36.1)], 2.05, ends="flush", simple_path=True, layer=60, datatype=0))  # L60_0
thmitll_dcsfq_ptltx_v3p0.add(gdstk.FlexPath([(11.9,23.5),(15,23.5),(15,20.8),(15,16)], 1.3, ends="flush", simple_path=True, layer=60, datatype=0))  # L60_0
thmitll_dcsfq_ptltx_v3p0.add(gdstk.FlexPath([(0,35),(5.7,35)], 2, ends="flush", simple_path=True, layer=60, datatype=0))  # L60_0
thmitll_dcsfq_ptltx_v3p0.add(gdstk.FlexPath([(5,11.55),(5,8.5)], 1.6, ends="flush", simple_path=True, layer=60, datatype=0))  # L60_0
thmitll_dcsfq_ptltx_v3p0.add(gdstk.FlexPath([(5,15.3),(5,12.3)], 1, ends="flush", simple_path=True, layer=60, datatype=0))  # L60_0
thmitll_dcsfq_ptltx_v3p0.add(gdstk.FlexPath([(15,8.65),(15,4.3)], 1.2, ends="flush", simple_path=True, layer=60, datatype=0))  # L60_0
thmitll_dcsfq_ptltx_v3p0.add(gdstk.FlexPath([(15,11.95),(15,16)], 1.2, ends="flush", simple_path=True, layer=60, datatype=0))  # L60_0
thmitll_dcsfq_ptltx_v3p0.add(gdstk.FlexPath([(5,65.7),(5,52.75)], 1.4, ends="flush", simple_path=True, layer=60, datatype=0))  # L60_0
thmitll_dcsfq_ptltx_v3p0.add(gdstk.FlexPath([(5,37),(5,34.15)], 1.4, ends="flush", simple_path=True, layer=50, datatype=0))  # L50_0
thmitll_dcsfq_ptltx_v3p0.add(gdstk.FlexPath([(4.15,33.8),(6.45,33.8),(6.45,31),(3.4,31),(3.4,31),(3.4,26)], 1, ends="flush", simple_path=True, layer=50, datatype=0))  # L50_0
thmitll_dcsfq_ptltx_v3p0.add(gdstk.FlexPath([(5,64.15),(5,70)], 2, ends="flush", simple_path=True, layer=50, datatype=0))  # L50_0
thmitll_dcsfq_ptltx_v3p0.add(gdstk.FlexPath([(15,5.85),(15,0)], 2, ends="flush", simple_path=True, layer=50, datatype=0))  # L50_0
thmitll_dcsfq_ptltx_v3p0.add(gdstk.FlexPath([(0,35.5),(0,34.5)], 0.1, ends="flush", simple_path=True, layer=19, datatype=0))  # L19_0
r = gdstk.Reference(ls_tr_u_m4, (10,0)); r.repetition = gdstk.Repetition(1, 7, v1=(0,0), v2=(0,10)); thmitll_dcsfq_ptltx_v3p0.add(r)
r = gdstk.Reference(ls_tr_u_m4, (0,10)); r.repetition = gdstk.Repetition(1, 6, v1=(0,0), v2=(0,10)); thmitll_dcsfq_ptltx_v3p0.add(r)
thmitll_dcsfq_ptltx_v3p0.add(gdstk.Reference(ls_tr_ptlconnection, (0,0)))
thmitll_dcsfq_ptltx_v3p0.add(gdstk.Reference(ls_res_1p36, (5,10.4)))
thmitll_dcsfq_ptltx_v3p0.add(gdstk.Reference(ls_conn_m5m6, (14.15,4.15)))
thmitll_dcsfq_ptltx_v3p0.add(gdstk.Reference(ls_conn_m5m6, (4.15,34.15)))
thmitll_dcsfq_ptltx_v3p0.add(gdstk.Reference(ls_conn_m5m6, (4.15,64.15)))
thmitll_dcsfq_ptltx_v3p0.add(gdstk.Reference(th_jj_250_sg, (5,16.45)))
thmitll_dcsfq_ptltx_v3p0.add(gdstk.Reference(th_jj_250_sg, (11.55,24.7), rotation=pi/2))
thmitll_dcsfq_ptltx_v3p0.add(gdstk.Reference(th_ib_350, (15,13.25), rotation=pi))
thmitll_dcsfq_ptltx_v3p0.add(gdstk.Reference(ls_conn_m4m5m6m7, (18.8,3.35), rotation=pi/2))
thmitll_dcsfq_ptltx_v3p0.add(gdstk.Reference(ls_conn_m4m5m6m7, (8.9,4.35)))
thmitll_dcsfq_ptltx_v3p0.add(gdstk.Reference(ls_conn_m4m5m6m7, (18.75,13.35), rotation=pi/2))
thmitll_dcsfq_ptltx_v3p0.add(gdstk.Reference(th_jj_225_s, (5,38.25)))
thmitll_dcsfq_ptltx_v3p0.add(gdstk.Reference(ls_conn_m4m5m6m7, (3,23.55), rotation=pi/2))
thmitll_dcsfq_ptltx_v3p0.add(gdstk.Reference(th_ib_275, (5,53.95), rotation=pi))
thmitll_dcsfq_ptltx_v3p0.add(gdstk.Reference(th_jj_225_sg, (14.25,36)))
thmitll_dcsfq_ptltx_v3p0.add(gdstk.Reference(ls_conn_m4m5m6m7, (18.8,23.5), rotation=pi/2))
thmitll_dcsfq_ptltx_v3p0.add(gdstk.Reference(ls_conn_m4m5m6m7, (2.65,63.35), rotation=pi/2))
thmitll_dcsfq_ptltx_v3p0.add(gdstk.Reference(ls_conn_m4m5m6m7, (2.65,53.4), rotation=pi/2))
thmitll_dcsfq_ptltx_v3p0.add(gdstk.Reference(ls_conn_m4m5m6m7, (2.65,43.4), rotation=pi/2))
thmitll_dcsfq_ptltx_v3p0.add(gdstk.Reference(ls_fakejj_1p5x1p5um, (10,10), rotation=pi/2))
thmitll_dcsfq_ptltx_v3p0.add(gdstk.Reference(ls_fakejj_1p5x1p5um, (10,20), rotation=pi/2))
thmitll_dcsfq_ptltx_v3p0.add(gdstk.Reference(ls_fakejj_1p5x1p5um, (10,30), rotation=pi/2))
thmitll_dcsfq_ptltx_v3p0.add(gdstk.Reference(ls_fakejj_1p5x1p5um, (10,50), rotation=pi/2))
thmitll_dcsfq_ptltx_v3p0.add(gdstk.Reference(ls_fakejj_1p5x1p5um, (10,60), rotation=pi/2))
thmitll_dcsfq_ptltx_v3p0.add(gdstk.Reference(ls_fakejj_3umx3um, (10.75,65), rotation=3*pi/2))
r = gdstk.Reference(ls_fakejj_3umx3um, (15,66.95), rotation=3*pi/2); r.repetition = gdstk.Repetition(5, 1, v1=(0,-4.3), v2=(0,0)); thmitll_dcsfq_ptltx_v3p0.add(r)
thmitll_dcsfq_ptltx_v3p0.add(gdstk.Reference(ls_fakejj_3umx3um, (10.7,55), rotation=3*pi/2))
thmitll_dcsfq_ptltx_v3p0.add(gdstk.Reference(ls_conn_m4m5m6m7, (12.2,43.4), rotation=pi/2))
thmitll_dcsfq_ptltx_v3p0.add(gdstk.Reference(ls_conn_m4m5m6m7, (15.6,43.3), rotation=pi/2))
thmitll_dcsfq_ptltx_v3p0.add(gdstk.Reference(ls_conn_m4m5m6m7, (18.75,43.3), rotation=pi/2))
r = gdstk.Reference(ls_conn_m4m5m6m7, (14.4,27.7), rotation=pi/2); r.repetition = gdstk.Repetition(1, 1, v1=(0,0), v2=(0,0)); thmitll_dcsfq_ptltx_v3p0.add(r)
r = gdstk.Reference(ls_conn_m4m5m6m7, (18.75,33.85), rotation=pi/2); r.repetition = gdstk.Repetition(1, 1, v1=(0,0), v2=(0,0)); thmitll_dcsfq_ptltx_v3p0.add(r)
thmitll_dcsfq_ptltx_v3p0.add(gdstk.Label('VDD', (15,0.45), layer=50, texttype=0))
thmitll_dcsfq_ptltx_v3p0.add(gdstk.Label('VDD', (5,69.6), layer=50, texttype=0))
thmitll_dcsfq_ptltx_v3p0.add(gdstk.Label('GND', (3.3,69.15), layer=40, texttype=0))
thmitll_dcsfq_ptltx_v3p0.add(gdstk.Label('J2 M6 M5', (14.25,36.05), layer=182, texttype=0))
thmitll_dcsfq_ptltx_v3p0.add(gdstk.Label('PB1 M6 M4', (5,47.5), layer=182, texttype=0))
thmitll_dcsfq_ptltx_v3p0.add(gdstk.Label('J1 M5 M6', (5,38.3), layer=182, texttype=0))
thmitll_dcsfq_ptltx_v3p0.add(gdstk.Label('J3 M6 M5', (11.5,24.75), layer=182, texttype=0))
thmitll_dcsfq_ptltx_v3p0.add(gdstk.Label('J4 M6 M5', (5,16.4), layer=182, texttype=0))
thmitll_dcsfq_ptltx_v3p0.add(gdstk.Label('P2 M6 M4', (5,12.9), layer=182, texttype=0))
thmitll_dcsfq_ptltx_v3p0.add(gdstk.Label('PB2 M6 M4', (15,12.7), layer=182, texttype=0))
thmitll_dcsfq_ptltx_v3p0.add(gdstk.Label('P1 M6 M4', (0,35.05), layer=182, texttype=0))
thmitll_dcsfq_ptltx_v3p0.add(gdstk.Label('RD', (5.05,11.9), layer=52, texttype=11))
thmitll_dcsfq_ptltx_v3p0.add(gdstk.Label('RB2', (14.25,38.9), layer=52, texttype=11))
thmitll_dcsfq_ptltx_v3p0.add(gdstk.Label('RIB1', (5,50.4), layer=52, texttype=11))
thmitll_dcsfq_ptltx_v3p0.add(gdstk.Label('RIB2', (15,10.4), layer=52, texttype=11))
thmitll_dcsfq_ptltx_v3p0.add(gdstk.Label('RB4', (5,19.35), layer=52, texttype=11))
thmitll_dcsfq_ptltx_v3p0.add(gdstk.Label('RB3', (8.7,24.7), layer=52, texttype=11))
thmitll_dcsfq_ptltx_v3p0.add(gdstk.Label('RB1', (4.95,41.1), layer=52, texttype=11))
thmitll_dcsfq_ptltx_v3p0.add(gdstk.Label('q', (5,5), layer=60, texttype=5))
thmitll_dcsfq_ptltx_v3p0.add(gdstk.Label('a', (0,35), layer=60, texttype=5))

lib.write_gds('THmitll_DCSFQ-PTLTX_v3p0.gds')
